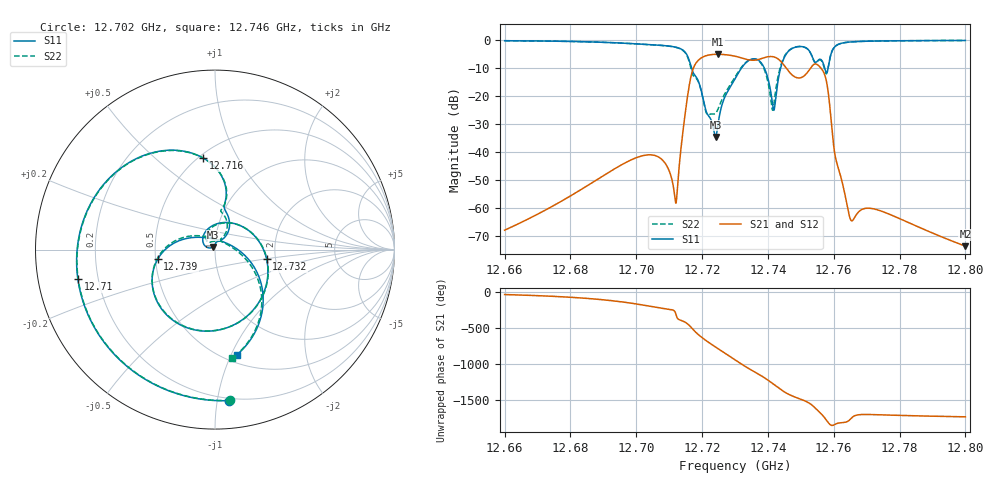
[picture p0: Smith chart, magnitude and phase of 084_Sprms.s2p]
! TOUCHSTONE file generated by CST MICROWAVE STUDIO
! Date and time: Wed Jul 31 14:58:07 2024
! Project name: WaveGuide_BPF-Ver4.1_U-shape_Ku_T3_C4_CWA_2.cst
! Parameters = {cavity_h=16; cavity_l0=10; cavity_l1=15.2301; cavity_l2=16.8468; cavity_l3=17.0774; cavity_l4=17.2452; cavity_l5=17.119; cavity_l6=17.5733; cavity_r=2.5; cavity_screw_l=0.5; cavity_screw_r=1.5; cavity_w=8; iris_h00=0; iris_h01=8.8265; iris_h112=0; iris_h12=5.6128; iris_h211=3.6642; i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
! Header version: 2018
! Port assignment regex: !\s*Touchstone port\s*([0-9]+)\s*=\s*(CST MWS port|CST DS port)\s*([0-9]+|Zmin|Zmax)\s*\(\"(.*)\"\)(\s*mode\s*([0-9]+))?.*
! Touchstone port assignment:
! Touchstone port 1 = CST MWS port 1 ("")
! Touchstone port 2 = CST MWS port 2 ("")
# GHz S RI R 50
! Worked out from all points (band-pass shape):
!   5001 points, 12.66 GHz to 12.8 GHz, reference 50 ohm
!   highest |S21| = -5.08 dB at 12.725 GHz (marker M1); lowest = -73.7 dB at 12.8 GHz (marker M2)
!   |S21| within 3 dB of the highest: 12.71823 GHz to 12.74427 GHz (26.04 MHz wide, 0.205 % of centre)
!   lowest |S11| = -34.7 dB at 12.724 GHz (marker M3), VSWR 1.04, Z = 48.9 + j1.49 ohm
!   |S11| at or under -10 dB: 12.71678 GHz to 12.73198 GHz (15.2 MHz wide, 0.119 % of centre); 12.7389 GHz to 12.74387 GHz (4.971 MHz wide, 0.039 % of centre); 12.75725 GHz to 12.7583 GHz (1.046 MHz wide, 0.0082 % of centre)
!   |S22| runs from -26.7 to -0.1 dB; largest |S21 - S12| = 1.4e-09
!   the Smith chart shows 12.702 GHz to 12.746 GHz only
!   S11 on the Smith chart (normalised r, x): 12.702 GHz: 0.18, -1.08; 12.71 GHz: 0.12, -0.10; 12.716 GHz: 0.53, +0.73; 12.732 GHz: 1.79, -0.21; 12.739 GHz: 0.51, -0.06; 12.746 GHz: 0.57, -1.05
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12.66  0.4954 0.8389  0.000326 -0.000227  0.000326 -0.000227  0.4956 0.8389
12.68335  0.9119 0.2151  0.00028 -0.00212  0.00028 -0.00212  0.9111 0.2191
12.70164  0.0801 -0.8414  -0.00845 -0.000371  -0.00845 -0.000371  0.0831 -0.84
12.70668  -0.5385 -0.6068  -0.00646 0.00497  -0.00646 0.00497  -0.5394 -0.6035
12.7099  -0.7641 -0.1644  -0.0024 0.00408  -0.0024 0.00408  -0.7634 -0.1552
12.71216  -0.7048 0.2321  0.00108 0.0007  0.00108 0.0007  -0.6964 0.2445
12.71561  -0.0654 0.5103  0.0138 -0.1003  0.0138 -0.1003  -0.0395 0.4933
12.71813  0.0598 0.2136  -0.3632 0.1325  -0.3632 0.1325  0.0391 0.2053
12.72031  0.0551 0.0698  0.1136 0.4882  0.1136 0.4882  0.0469 0.0726
12.72409  -0.0105 0.0152  0.4108 -0.3749  0.4108 -0.3749  -0.0272 0.0409
12.72471  -0.0259 0.00935  0.2708 -0.4866  0.2708 -0.4866  -0.0365 0.0427
12.73  0.1589 0.1248  -0.3891 0.3371  -0.3891 0.3371  0.1905 0.1048
12.7316  0.2875 -0.053  -0.013 0.4864  -0.013 0.4864  0.2942 -0.0793
12.73507  -0.0392 -0.4545  0.4354 -0.0264  0.4354 -0.0264  -0.0535 -0.4532
12.73882  -0.3191 -0.0532  -0.1225 -0.4672  -0.1225 -0.4672  -0.3048 -0.0235
12.74182  0.0172 0.0527  -0.4666 0.1784  -0.4666 0.1784  0.0636 0.0312
12.7459  0.1207 -0.587  0.2517 0.1555  0.2517 0.1555  0.0959 -0.6048
12.75335  -0.5102 -0.1235  -0.2 -0.2738  -0.2 -0.2738  -0.5071 -0.1098
12.7575  -0.2372 -0.1519  0.1617 0.1421  0.1617 0.1421  -0.2139 -0.1517
12.76514  -0.8152 -0.4383  0.000456 0.000404  0.000456 0.000404  -0.8154 -0.4375
12.77668  -0.968 -0.0222  -6.24e-05 0.000774  -6.24e-05 0.000774  -0.9679 -0.0198
12.8  -0.9088 0.3786  6.93e-05 0.000194  6.93e-05 0.000194  -0.9073 0.3822
